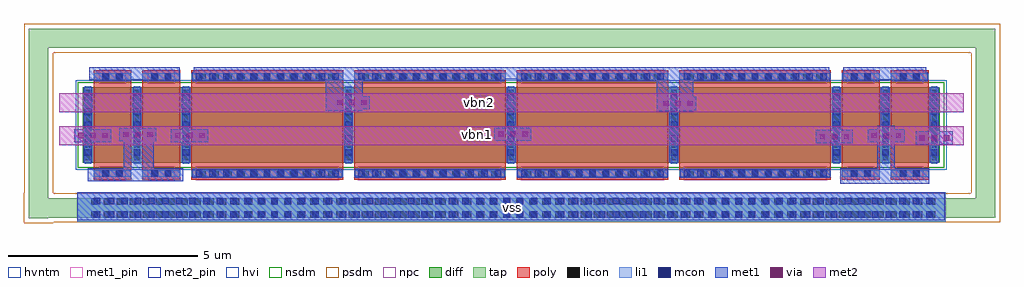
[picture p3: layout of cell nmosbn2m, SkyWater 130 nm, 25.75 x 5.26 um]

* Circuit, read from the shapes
.subckt nmosbn2m vbn1 vbn2 vss
XM1 vbn1 vbn1 vbn1 vss sky130_fd_pr__nfet_g5v0d10v5 w=2 l=1 m=4
XM2 vbn2 vbn2 vbn1 vss sky130_fd_pr__nfet_g5v0d10v5 w=2 l=4 m=4
.ends

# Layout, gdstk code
from math import pi, radians
import gdstk
lib = gdstk.Library(unit=1e-6, precision=1e-09)
def R(c, l, rs):  # rectangles x0, y0, x1, y1
    for r in rs: c.add(gdstk.rectangle(r[:2], r[2:], *l))
def A(c, l, x, y, w, h, nx, ny, dx, dy):  # array of equal rectangles
    R(c, l, [(x+i*dx, y+j*dy, x+i*dx+w, y+j*dy+h) for i in range(nx) for j in range(ny)])
diff = (65, 20)
tap = (65, 44)
poly = (66, 20)
licon = (66, 44)
li1 = (67, 20)
mcon = (67, 44)
met1_pin = (68, 16)
met1 = (68, 20)
via = (68, 44)
met2_pin = (69, 16)
met2 = (69, 20)
hvi = (75, 20)
nsdm = (93, 44)
psdm = (94, 20)
npc = (95, 20)
hvntm = (125, 20)

viam1m2_1u = lib.new_cell('viam1m2_1u')
R(viam1m2_1u, met1, [(-0.02,-0.04,0.33,0.94)])
A(viam1m2_1u, via, 0.075, 0.06, 0.15, 0.15, 1, 3, 0, 0.32)
R(viam1m2_1u, met2, [(-0.02,-0.04,0.33,0.94)])

sky130_fd_pr__nfet_g5v0d = lib.new_cell('sky130_fd_pr__nfet_g5v0d10v5_8EXDUM')
R(sky130_fd_pr__nfet_g5v0d, diff, [(-1.435,-1,1.435,1)])
R(sky130_fd_pr__nfet_g5v0d, poly, [(-1.145,-1.44,-0.145,1.44), (0.145,-1.44,1.145,1.44)])
A(sky130_fd_pr__nfet_g5v0d, licon, -1.375, -0.935, 0.17, 0.17, 3, 6, 1.29, 0.34)
R(sky130_fd_pr__nfet_g5v0d, licon, [(-0.9,-1.36,-0.73,-1.19), (-0.56,-1.36,-0.39,-1.19), (0.39,-1.36,0.56,-1.19), (0.73,-1.36,0.9,-1.19), (-0.9,1.19,-0.73,1.36), (-0.56,1.19,-0.39,1.36), (0.39,1.19,0.56,1.36), (0.73,1.19,0.9,1.36)])
A(sky130_fd_pr__nfet_g5v0d, li1, -1.375, -1.02, 0.17, 2.04, 3, 1, 1.29, 0)
R(sky130_fd_pr__nfet_g5v0d, li1, [(-1.145,-1.36,-0.145,-1.19), (0.145,-1.36,1.145,-1.19), (-1.145,1.19,-0.145,1.36), (0.145,1.19,1.145,1.36)])
A(sky130_fd_pr__nfet_g5v0d, mcon, -1.375, -0.805, 0.17, 0.17, 3, 5, 1.29, 0.36)
R(sky130_fd_pr__nfet_g5v0d, mcon, [(-0.91,-1.36,-0.74,-1.19), (-0.55,-1.36,-0.38,-1.19), (0.38,-1.36,0.55,-1.19), (0.74,-1.36,0.91,-1.19), (-0.91,1.19,-0.74,1.36), (-0.55,1.19,-0.38,1.36), (0.38,1.19,0.55,1.36), (0.74,1.19,0.91,1.36)])
A(sky130_fd_pr__nfet_g5v0d, met1, -1.405, -1, 0.23, 2, 3, 1, 1.29, 0)
R(sky130_fd_pr__nfet_g5v0d, met1, [(-1.125,-1.39,-0.165,-1.16), (0.165,-1.39,1.125,-1.16), (-1.125,1.16,-0.165,1.39), (0.165,1.16,1.125,1.39)])
R(sky130_fd_pr__nfet_g5v0d, hvi, [(-1.62,-1.185,1.62,1.185)])
R(sky130_fd_pr__nfet_g5v0d, nsdm, [(-1.56,-1.125,1.56,1.125)])
R(sky130_fd_pr__nfet_g5v0d, npc, [(-1,-1.46,-0.29,-1.09), (0.29,-1.46,1,-1.09), (-1,1.09,-0.29,1.46), (0.29,1.09,1,1.46)])
R(sky130_fd_pr__nfet_g5v0d, hvntm, [(-1.62,-1.185,1.62,1.185)])

c_sky130_fd_pr__nfet_g5v0d = lib.new_cell('sky130_fd_pr__nfet_g5v0d10v5_BFL7RH')
R(c_sky130_fd_pr__nfet_g5v0d, diff, [(-8.725,-1,8.725,1)])
A(c_sky130_fd_pr__nfet_g5v0d, poly, -8.435, -1.44, 4, 2.88, 4, 1, 4.29, 0)
A(c_sky130_fd_pr__nfet_g5v0d, licon, -8.22, -1.36, 0.17, 0.17, 11, 2, 0.34, 2.55)
A(c_sky130_fd_pr__nfet_g5v0d, licon, -3.93, -1.36, 0.17, 0.17, 11, 2, 0.34, 2.55)
A(c_sky130_fd_pr__nfet_g5v0d, licon, 0.36, -1.36, 0.17, 0.17, 11, 2, 0.34, 2.55)
A(c_sky130_fd_pr__nfet_g5v0d, licon, 4.65, -1.36, 0.17, 0.17, 11, 2, 0.34, 2.55)
A(c_sky130_fd_pr__nfet_g5v0d, licon, -8.665, -0.935, 0.17, 0.17, 5, 6, 4.29, 0.34)
A(c_sky130_fd_pr__nfet_g5v0d, li1, -8.435, -1.36, 4, 0.17, 4, 2, 4.29, 2.55)
A(c_sky130_fd_pr__nfet_g5v0d, li1, -8.665, -1.02, 0.17, 2.04, 5, 1, 4.29, 0)
A(c_sky130_fd_pr__nfet_g5v0d, mcon, -8.32, -1.36, 0.17, 0.17, 11, 2, 0.36, 2.55)
A(c_sky130_fd_pr__nfet_g5v0d, mcon, -4.03, -1.36, 0.17, 0.17, 11, 2, 0.36, 2.55)
A(c_sky130_fd_pr__nfet_g5v0d, mcon, 0.26, -1.36, 0.17, 0.17, 11, 2, 0.36, 2.55)
A(c_sky130_fd_pr__nfet_g5v0d, mcon, 4.55, -1.36, 0.17, 0.17, 11, 2, 0.36, 2.55)
A(c_sky130_fd_pr__nfet_g5v0d, mcon, -8.665, -0.805, 0.17, 0.17, 5, 5, 4.29, 0.36)
A(c_sky130_fd_pr__nfet_g5v0d, met1, -8.415, -1.39, 3.96, 0.23, 4, 2, 4.29, 2.55)
A(c_sky130_fd_pr__nfet_g5v0d, met1, -8.695, -1, 0.23, 2, 5, 1, 4.29, 0)
R(c_sky130_fd_pr__nfet_g5v0d, hvi, [(-8.91,-1.185,8.91,1.185)])
R(c_sky130_fd_pr__nfet_g5v0d, nsdm, [(-8.85,-1.125,8.85,1.125)])
A(c_sky130_fd_pr__nfet_g5v0d, npc, -8.32, -1.46, 3.77, 0.37, 4, 2, 4.29, 2.55)
R(c_sky130_fd_pr__nfet_g5v0d, hvntm, [(-8.91,-1.185,8.91,1.185)])

nmosbn2m = lib.new_cell('nmosbn2m')
R(nmosbn2m, tap, [(-3.995,-1.025,-3.485,-1), (-4,-1,21.495,-0.49), (-3.995,-0.49,-3.485,3.475), (20.985,-0.49,21.495,3.475), (-3.995,3.475,21.495,3.985)])
A(nmosbn2m, licon, -2.355, -1, 0.17, 0.17, 66, 2, 0.34, 0.34)
R(nmosbn2m, li1, [(-2.72,-1.11,20.19,-0.33)])
A(nmosbn2m, mcon, -2.28, -1.01, 0.17, 0.17, 62, 2, 0.36, 0.36)
R(nmosbn2m, met1_pin, [(8.55,-0.89,8.99,-0.56)])
R(nmosbn2m, met1, [(-2.72,-1.07,20.16,-0.34), (17.4,-0.11,19.76,0.3), (-2.44,-0.04,0.07,0.3), (-1.5,0.3,-0.7,1.36), (18.38,0.3,18.84,1.42), (12.56,1.8,13.53,2.64), (3.84,1.81,4.81,2.64), (-2.41,2.64,-0.02,2.96), (0.35,2.64,7.99,2.65), (9.25,2.64,17.12,2.65), (17.49,2.64,19.67,2.96), (0.35,2.65,17.12,2.96)])
R(nmosbn2m, met2_pin, [(7.55,1,8.1,1.39), (7.68,1.86,8.12,2.21)])
R(nmosbn2m, met2, [(-3.2,0.91,20.66,1.41), (-3.2,1.78,20.66,2.28)])
R(nmosbn2m, psdm, [(-4.12,-1.15,-3.36,-1.125), (-4.125,-1.125,21.62,-0.365), (-4.12,-0.365,-3.36,3.35), (20.86,-0.365,21.62,3.35), (-4.12,3.35,21.62,4.11)])
nmosbn2m.add(gdstk.Reference(viam1m2_1u, (-2.76,1.31), rotation=3*pi/2))
nmosbn2m.add(gdstk.Reference(viam1m2_1u, (8.32,1.35), rotation=3*pi/2))
nmosbn2m.add(gdstk.Reference(viam1m2_1u, (4.06,2.18), rotation=3*pi/2))
nmosbn2m.add(gdstk.Reference(viam1m2_1u, (-0.21,1.31), rotation=3*pi/2))
nmosbn2m.add(gdstk.Reference(viam1m2_1u, (-1.57,1.34), rotation=3*pi/2))
nmosbn2m.add(gdstk.Reference(sky130_fd_pr__nfet_g5v0d, (-1.145,1.44)))
nmosbn2m.add(gdstk.Reference(viam1m2_1u, (20.34,1.25), rotation=3*pi/2, x_reflection=True))
nmosbn2m.add(gdstk.Reference(viam1m2_1u, (16.8,1.29), rotation=3*pi/2))
nmosbn2m.add(gdstk.Reference(viam1m2_1u, (12.67,2.16), rotation=3*pi/2))
nmosbn2m.add(gdstk.Reference(viam1m2_1u, (18.17,1.31), rotation=3*pi/2))
nmosbn2m.add(gdstk.Reference(sky130_fd_pr__nfet_g5v0d, (18.595,1.44)))
nmosbn2m.add(gdstk.Reference(c_sky130_fd_pr__nfet_g5v0d, (8.725,1.44)))
nmosbn2m.add(gdstk.Label('vss', (8.77,-0.725), layer=68, texttype=5))
nmosbn2m.add(gdstk.Label('vbn1', (7.825,1.195), layer=69, texttype=5))
nmosbn2m.add(gdstk.Label('vbn2', (7.9,2.035), layer=69, texttype=5))

lib.write_gds('nmosbn2m.gds')
